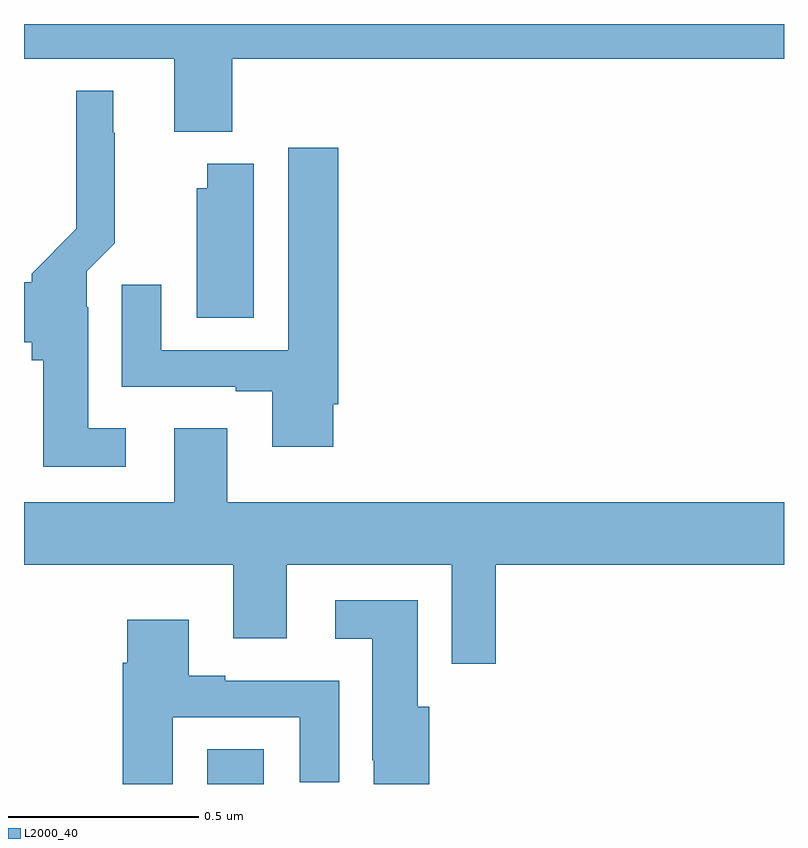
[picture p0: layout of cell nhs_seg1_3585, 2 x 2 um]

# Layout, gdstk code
import gdstk
lib = gdstk.Library(unit=1e-6, precision=1e-09)
def R(c, l, rs):  # rectangles x0, y0, x1, y1
    for r in rs: c.add(gdstk.rectangle(r[:2], r[2:], *l))
def P(c, l, *ps):  # polygons
    for p in ps: c.add(gdstk.Polygon(p, *l))
L2000_40 = (2000, 40)

nhs_seg1_3585 = lib.new_cell('nhs_seg1_3585')
R(nhs_seg1_3585, L2000_40, [(156.482,507.199,156.631,507.29)])
P(nhs_seg1_3585, L2000_40, [(156.548,509.108),(158,509.108),(158,509.199),(156,509.199),(156,509.108),(156.395,509.108),(156.395,508.916),(156.548,508.916)],
  [(156.268,508.135),(156.169,508.135),(156.169,508.454),(156.165,508.454),(156.165,508.548),(156.239,508.622),(156.239,508.913),(156.235,508.913),(156.235,509.023),(156.137,509.023),(156.137,508.762),(156.138,508.762),(156.138,508.66),(156.02,508.542),(156.02,508.519),(156,508.519),(156,508.361),(156.02,508.361),(156.02,508.314),(156.05,508.314),(156.05,508.034),(156.268,508.034)],
  [(156.814,508.198),(156.827,508.198),(156.827,508.873),(156.695,508.873),(156.695,508.341),(156.361,508.341),(156.361,508.513),(156.257,508.513),(156.257,508.245),(156.557,508.245),(156.557,508.233),(156.653,508.233),(156.653,508.086),(156.814,508.086)],
  [(156.604,508.831),(156.482,508.831),(156.482,508.767),(156.455,508.767),(156.455,508.426),(156.604,508.426)],
  [(156.535,508.135),(156.395,508.135),(156.395,507.94),(156,507.94),(156,507.776),(156.551,507.776),(156.551,507.582),(156.691,507.582),(156.691,507.776),(157.125,507.776),(157.125,507.516),(157.241,507.516),(157.241,507.776),(158,507.776),(158,507.94),(156.535,507.94)],
  [(157.067,507.402),(157.036,507.402),(157.036,507.682),(156.819,507.682),(156.819,507.581),(156.917,507.581),(156.917,507.262),(156.921,507.262),(156.921,507.199),(157.067,507.199)],
  [(156.391,507.375),(156.725,507.375),(156.725,507.204),(156.829,507.204),(156.829,507.471),(156.529,507.471),(156.529,507.484),(156.433,507.484),(156.433,507.631),(156.272,507.631),(156.272,507.518),(156.26,507.518),(156.26,507.199),(156.391,507.199)])

lib.write_gds('nhs_seg1_3585.gds')
